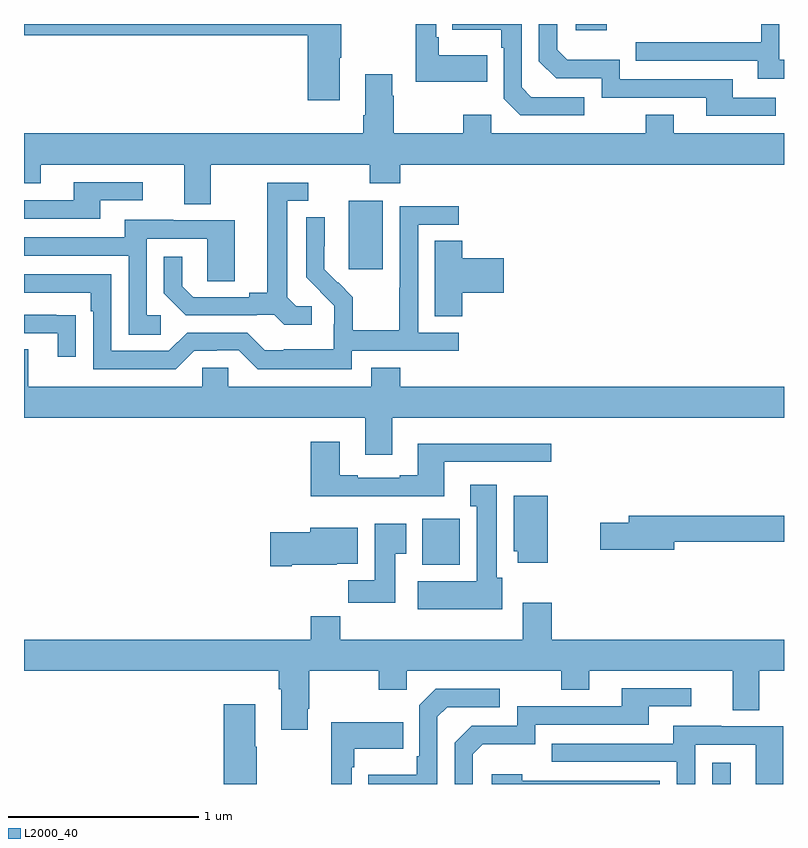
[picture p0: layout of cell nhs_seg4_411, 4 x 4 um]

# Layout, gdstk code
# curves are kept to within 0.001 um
import gdstk
lib = gdstk.Library(unit=1e-6, precision=1e-09)
def R(c, l, rs):  # rectangles x0, y0, x1, y1
    for r in rs: c.add(gdstk.rectangle(r[:2], r[2:], *l))
def P(c, l, *ps):  # polygons
    for p in ps: c.add(gdstk.Polygon(p, *l))
L2000_40 = (2000, 40)

nhs_seg4_411 = lib.new_cell('nhs_seg4_411')
R(nhs_seg4_411, L2000_40, [(134.622,786.9,134.719,787.012), (133.097,788.054,133.294,788.296), (132.71,789.609,132.889,789.97), (133.905,790.868,134.066,790.9)])
P(nhs_seg4_411, L2000_40, [(134.956,790.512),(134.731,790.512),(134.731,790.608),(134.136,790.608),(134.136,790.711),(133.859,790.711),(133.806,790.764),(133.806,790.9),(133.71,790.9),(133.71,790.704),(133.8,790.614),(134.04,790.614),(134.04,790.512),(134.591,790.512),(134.591,790.416),(134.956,790.416)],
  [(135,790.713),(134.976,790.713),(134.976,790.9),(134.88,790.9),(134.88,790.803),(134.221,790.803),(134.221,790.707),(134.861,790.707),(134.861,790.613),(135,790.613)],
  [(133.948,790.515),(133.671,790.515),(133.62,790.566),(133.62,790.9),(133.255,790.9),(133.255,790.871),(133.512,790.871),(133.512,790.775),(133.524,790.775),(133.524,790.506),(133.611,790.419),(133.948,790.419)],
  [(132.661,790.723),(132.669,790.723),(132.669,790.9),(131,790.9),(131,790.84),(132.494,790.84),(132.494,790.5),(132.661,790.5)],
  [(133.439,790.735),(133.183,790.735),(133.183,790.831),(133.17,790.831),(133.17,790.9),(133.062,790.9),(133.062,790.595),(133.439,790.595)],
  [(132.945,790.523),(132.937,790.523),(132.937,790.636),(132.797,790.636),(132.797,790.42),(132.785,790.42),(132.785,790.324),(131,790.324),(131,790.061),(131.089,790.061),(131.089,790.16),(131.843,790.16),(131.843,789.952),(131.983,789.952),(131.983,790.16),(132.82,790.16),(132.82,790.061),(132.98,790.061),(132.98,790.16),(135,790.16),(135,790.324),(134.419,790.324),(134.419,790.423),(134.272,790.423),(134.272,790.324),(133.458,790.324),(133.458,790.423),(133.312,790.423),(133.312,790.324),(132.945,790.324)],
  [(131.401,789.972),(131.626,789.972),(131.626,790.068),(131.261,790.068),(131.261,789.972),(131,789.972),(131,789.876),(131.401,789.876)],
  [(132.514,789.414),(132.432,789.414),(132.385,789.461),(132.385,789.969),(132.496,789.969),(132.496,790.065),(132.281,790.065),(132.281,789.485),(132.185,789.485),(132.185,789.462),(131.89,789.462),(131.833,789.519),(131.833,789.676),(131.736,789.676),(131.736,789.482),(131.852,789.366),(132.224,789.366),(132.224,789.369),(132.318,789.369),(132.37,789.317),(132.514,789.317)],
  [(132.726,789.18),(133.288,789.18),(133.288,789.276),(133.074,789.276),(133.074,789.843),(133.288,789.843),(133.288,789.942),(132.978,789.942),(132.978,789.512),(132.976,789.512),(132.976,789.289),(132.731,789.289),(132.731,789.463),(132.654,789.54),(132.651,789.537),(132.581,789.608),(132.582,789.884),(132.486,789.884),(132.486,789.566),(132.632,789.418),(132.632,789.321),(132.63,789.321),(132.63,789.187),(132.367,789.187),(132.367,789.183),(132.267,789.183),(132.174,789.276),(131.859,789.276),(131.763,789.18),(131.46,789.18),(131.46,789.582),(131,789.582),(131,789.486),(131.351,789.486),(131.351,789.389),(131.364,789.389),(131.364,789.084),(131.799,789.084),(131.895,789.18),(132.014,789.18),(132.014,789.183),(132.129,789.183),(132.229,789.083),(132.726,789.083)],
  [(131.719,789.366),(131.646,789.366),(131.646,789.771),(131.964,789.771),(131.964,789.547),(132.109,789.547),(132.109,789.867),(131.785,789.867),(131.785,789.871),(131.531,789.871),(131.531,789.777),(131,789.777),(131,789.681),(131.55,789.681),(131.55,789.265),(131.719,789.265)],
  [(133.307,789.485),(133.525,789.485),(133.525,789.668),(133.307,789.668),(133.307,789.758),(133.163,789.758),(133.163,789.361),(133.307,789.361)],
  [(131.273,789.368),(131.171,789.368),(131.171,789.369),(131,789.369),(131,789.273),(131.177,789.273),(131.177,789.15),(131.273,789.15)],
  [(132.937,788.828),(135,788.828),(135,788.992),(132.98,788.992),(132.98,789.091),(132.827,789.091),(132.827,788.992),(132.075,788.992),(132.075,789.09),(131.937,789.09),(131.937,788.992),(131.023,788.992),(131.023,789.187),(131,789.187),(131,788.828),(132.797,788.828),(132.797,788.634),(132.937,788.634)],
  [(133.213,788.595),(133.774,788.595),(133.774,788.692),(133.073,788.692),(133.073,788.524),(132.977,788.524),(132.977,788.511),(132.757,788.511),(132.757,788.524),(132.661,788.524),(132.661,788.701),(132.509,788.701),(132.509,788.414),(133.213,788.414)],
  [(133.516,787.986),(133.489,787.986),(133.489,788.476),(133.349,788.476),(133.349,788.363),(133.382,788.363),(133.382,787.966),(133.073,787.966),(133.073,787.82),(133.516,787.82)],
  [(133.756,788.416),(133.577,788.416),(133.577,788.124),(133.598,788.124),(133.598,788.064),(133.756,788.064)],
  [(134.422,788.176),(135,788.176),(135,788.312),(134.183,788.312),(134.183,788.276),(134.034,788.276),(134.034,788.134),(134.422,788.134)],
  [(132.955,788.113),(133.012,788.113),(133.012,788.269),(132.845,788.269),(132.845,787.972),(132.706,787.972),(132.706,787.854),(132.955,787.854)],
  [(132.409,788.054),(132.645,788.054),(132.645,788.06),(132.757,788.06),(132.757,788.248),(132.506,788.248),(132.506,788.225),(132.297,788.225),(132.297,788.047),(132.409,788.047)],
  [(132.493,787.297),(132.501,787.297),(132.501,787.496),(132.868,787.496),(132.868,787.397),(133.014,787.397),(133.014,787.496),(133.828,787.496),(133.828,787.397),(133.975,787.397),(133.975,787.496),(134.729,787.496),(134.729,787.288),(134.869,787.288),(134.869,787.496),(135,787.496),(135,787.66),(133.778,787.66),(133.778,787.855),(133.625,787.855),(133.625,787.66),(132.665,787.66),(132.665,787.784),(132.509,787.784),(132.509,787.66),(131,787.66),(131,787.496),(132.341,787.496),(132.341,787.4),(132.353,787.4),(132.353,787.185),(132.493,787.185)],
  [(133.362,787.056),(133.415,787.109),(133.692,787.109),(133.692,787.212),(134.287,787.212),(134.287,787.308),(134.512,787.308),(134.512,787.404),(134.147,787.404),(134.147,787.308),(133.596,787.308),(133.596,787.206),(133.356,787.206),(133.266,787.116),(133.266,786.9),(133.362,786.9)],
  [(133.176,787.254),(133.227,787.305),(133.504,787.305),(133.504,787.401),(133.167,787.401),(133.08,787.314),(133.08,787.045),(133.068,787.045),(133.068,786.949),(132.811,786.949),(132.811,786.9),(133.176,786.9)],
  [(132.225,787.097),(132.217,787.097),(132.217,787.321),(132.05,787.321),(132.05,786.9),(132.225,786.9)],
  [(132.726,786.989),(132.739,786.989),(132.739,787.085),(132.995,787.085),(132.995,787.225),(132.618,787.225),(132.618,786.9),(132.726,786.9)],
  [(134.532,787.107),(134.85,787.107),(134.85,786.9),(134.995,786.9),(134.995,787.203),(134.671,787.203),(134.671,787.207),(134.417,787.207),(134.417,787.113),(133.777,787.113),(133.777,787.017),(134.436,787.017),(134.436,786.9),(134.532,786.9)],
  [(134.346,786.918),(133.622,786.918),(133.622,786.952),(133.461,786.952),(133.461,786.9),(134.346,786.9)])

lib.write_gds('nhs_seg4_411.gds')
